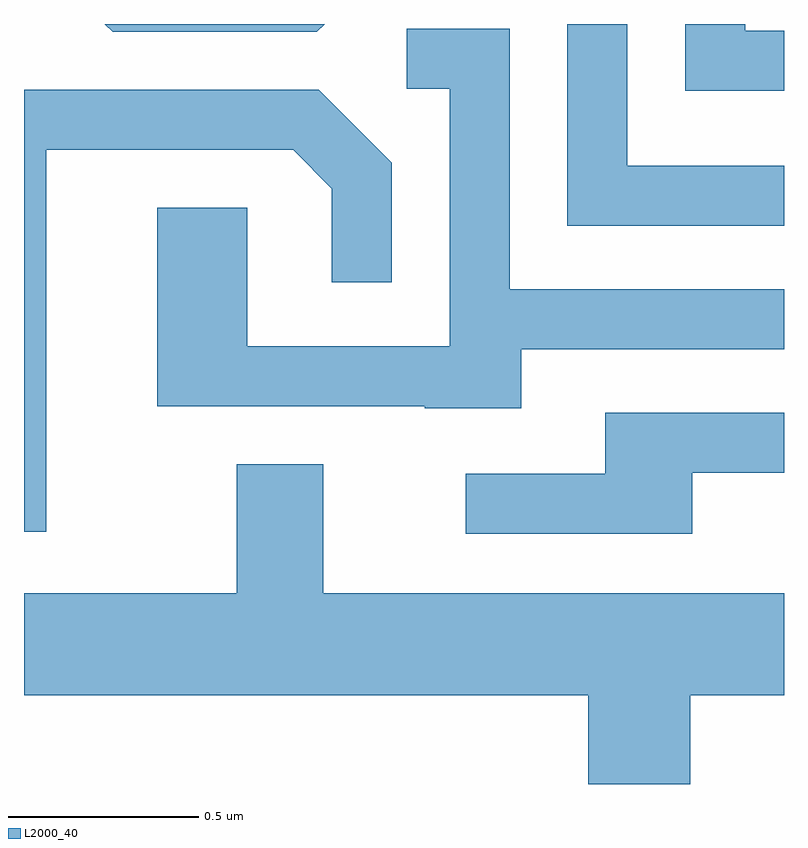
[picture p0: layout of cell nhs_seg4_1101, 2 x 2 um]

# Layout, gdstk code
import gdstk
lib = gdstk.Library(unit=1e-6, precision=1e-09)
def P(c, l, *ps):  # polygons
    for p in ps: c.add(gdstk.Polygon(p, *l))
L2000_40 = (2000, 40)

nhs_seg4_1101 = lib.new_cell('nhs_seg4_1101')
P(nhs_seg4_1101, L2000_40, [(195.611,1260.964),(195.509,1260.964),(195.509,1260.982),(195.351,1260.982),(195.351,1260.806),(195.611,1260.806)],
  [(194.403,1260.982),(193.823,1260.982),(193.844,1260.961),(194.382,1260.961)],
  [(195.611,1260.609),(195.199,1260.609),(195.199,1260.982),(195.041,1260.982),(195.041,1260.451),(195.611,1260.451)],
  [(194.919,1260.126),(195.611,1260.126),(195.611,1260.284),(194.889,1260.284),(194.889,1260.969),(194.618,1260.969),(194.618,1260.811),(194.731,1260.811),(194.731,1260.134),(194.199,1260.134),(194.199,1260.499),(193.961,1260.499),(193.961,1259.976),(194.665,1259.976),(194.665,1259.971),(194.919,1259.971)],
  [(193.669,1260.651),(194.319,1260.651),(194.421,1260.549),(194.421,1260.303),(194.579,1260.303),(194.579,1260.617),(194.387,1260.809),(193.611,1260.809),(193.611,1259.646),(193.669,1259.646)],
  [(195.369,1259.801),(195.611,1259.801),(195.611,1259.959),(195.141,1259.959),(195.141,1259.799),(194.773,1259.799),(194.773,1259.641),(195.369,1259.641)],
  [(195.364,1259.216),(195.611,1259.216),(195.611,1259.484),(194.399,1259.484),(194.399,1259.824),(194.171,1259.824),(194.171,1259.484),(193.611,1259.484),(193.611,1259.216),(195.096,1259.216),(195.096,1258.982),(195.364,1258.982)])

lib.write_gds('nhs_seg4_1101.gds')
